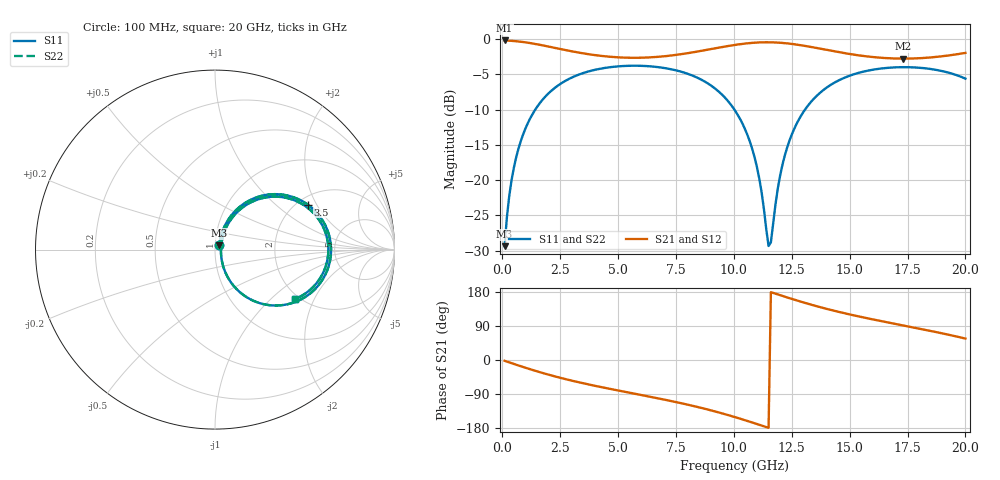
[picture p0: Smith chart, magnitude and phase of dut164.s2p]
! Touchstone file exported from HFSS 2026.1.0
!  File:  C:/ffzhzh/LocalFiles/Ansys_Project_Files/temp_train_TSV_RDL_164_1783054405_46780.aedt
!  Generated:  01:10:29 PM Jul  3, 2026
!  Design:  TSV_RDL
!  Project:  temp_train_TSV_RDL_164_1783054405_46780
! Variables:
!  h_bsmrdl = 5.88um
!  h_ox = 20um
!  h_rdl = 5um
!  h_sub = 52.29um
!  h_tmrdl = 5.36um
!  h_tsv = 52.29um
!  h_via = 3um
!  l_bsmrdl = 426.95um
!  l_sub = 5689.77um
!  l_tmrdl = 978.08um
!  m_sub = 200um
!  pitch = 53.06um
!  r_tsv = 3.94um
!  s_tmrdl = 10um
!  w_bsmrdl = 14.81um
!  w_sub = 500um
!  w_tmrdl = 17.39um
!  x_tsv_center1 = 986.775um
!  x_tsv_center2 = 1428.535um
!  x_tsv_center3 = 2424.005um
!  x_tsv_center4 = 2865.765um
!  x_tsv_center5 = 3861.235um
!  x_tsv_center6 = 4302.995um
# GHz S MA R 50.000000
! Terminal data exported
! Port[1] = TM_RDL1_1_T1
! Port[2] = TM_RDL5_1_T1
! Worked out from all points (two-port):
!   200 points, 100 MHz to 20 GHz, reference 50 ohm
!   highest |S21| = -0.21 dB at 100 MHz (marker M1); lowest = -2.8 dB at 17.3 GHz (marker M2)
!   |S21| within 3 dB of the highest: start of sweep to end of sweep
!   lowest |S11| = -29.4 dB at 100 MHz (marker M3), VSWR 1.07, Z = 52.4 + j2.53 ohm
!   |S11| at or under -10 dB: start of sweep to 1.427 GHz; 10.02 GHz to 13.08 GHz (3.054 GHz wide, 26.4 % of centre)
!   |S22| runs from -29.4 to -3.8 dB; largest |S21 - S12| = 1.7e-14
!   S11 on the Smith chart (normalised r, x): 100 MHz: 1.05, +0.05; 3.5 GHz: 2.26, +1.69; 20 GHz: 1.90, -1.44
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0.1  0.03399 45.2  0.9766 -2.1  0.9766 -2.1  0.03399 45.2
! Gamma 0 0 0 0
! Port Impedance 50 0 50 0
0.3  0.07711 65.3  0.973 -6.3  0.973 -6.3  0.07711 65.3
0.5  0.1225 67.8  0.9678 -10.4  0.9678 -10.4  0.1225 67.8
1.1  0.2526 61.7  0.9417 -22.4  0.9417 -22.4  0.2526 61.7
2.1  0.4271 45.9  0.877 -40.5  0.877 -40.5  0.4271 45.9
3.5  0.5742 25.9  0.7909 -61.5  0.7909 -61.5  0.5742 25.9
5.1  0.6417 6.5  0.74 -81.7  0.74 -81.7  0.6417 6.5
6.8  0.6298 -13.0  0.7493 -102.1  0.7493 -102.1  0.6298 -13.0
8.7  0.5041 -37.2  0.8301 -128.0  0.8301 -128.0  0.5041 -37.2
10.1  0.3024 -57.6  0.9109 -151.6  0.9109 -151.6  0.3024 -57.6
10.9  0.1441 -65.5  0.9418 -167.0  0.9418 -167.0  0.1441 -65.6
11.2  0.08171 -60.7  0.9471 -173.0  0.9471 -173.0  0.08169 -60.7
11.5  0.03409 -13.8  0.9482 -179.0  0.9482 -179.0  0.03406 -13.8
11.6  0.03618 21.1  0.9477 179.0  0.9477 179.0  0.03616 21.1
12  0.1079 61.9  0.9408 171.0  0.9408 171.0  0.1079 61.9
12.3  0.1697 62.8  0.9313 165.1  0.9313 165.1  0.1697 62.8
13.4  0.3689 49.4  0.8744 144.9  0.8744 144.9  0.3689 49.4
14.8  0.5334 29.9  0.7929 123.1  0.7929 123.1  0.5334 29.9
16.7  0.6257 7.1  0.7304 98.5  0.7304 98.5  0.6257 7.1
17.3  0.6316 0.3  0.7261 91.3  0.7261 91.3  0.6316 0.3
18.6  0.6095 -14.5  0.7426 75.4  0.7426 75.4  0.6095 -14.5
20  0.5238 -31.7  0.797 56.6  0.797 56.6  0.5238 -31.7
